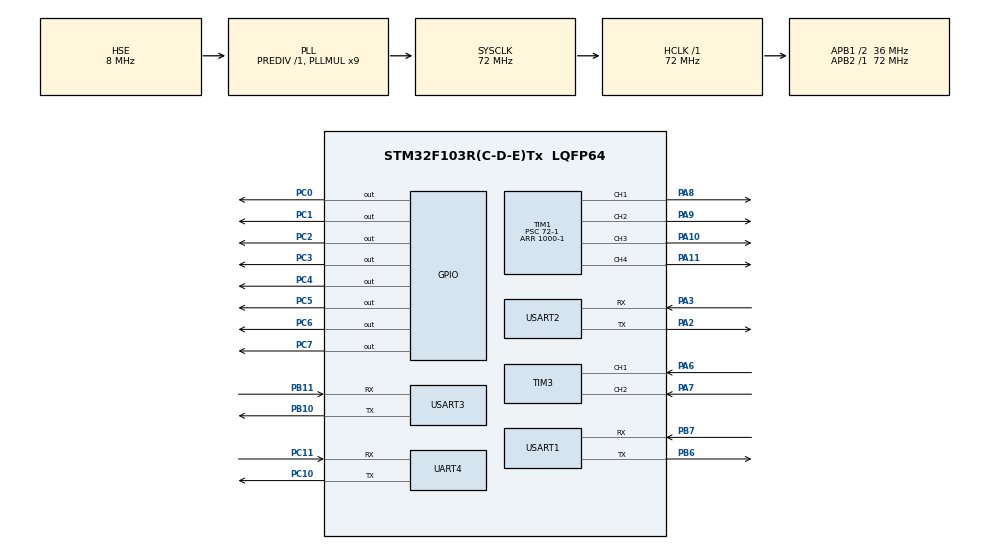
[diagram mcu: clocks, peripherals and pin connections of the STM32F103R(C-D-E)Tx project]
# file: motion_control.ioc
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Dma.Request0=USART2_RX
Dma.Request1=USART3_RX
Dma.Request2=UART4_RX
Dma.UART4_RX.2.Direction=DMA_PERIPH_TO_MEMORY
Dma.UART4_RX.2.Instance=DMA2_Channel3
Dma.UART4_RX.2.MemDataAlignment=DMA_MDATAALIGN_BYTE
Dma.UART4_RX.2.MemInc=DMA_MINC_ENABLE
Dma.UART4_RX.2.Mode=DMA_NORMAL
Dma.UART4_RX.2.PeriphDataAlignment=DMA_PDATAALIGN_BYTE
Dma.UART4_RX.2.PeriphInc=DMA_PINC_DISABLE
Dma.UART4_RX.2.Priority=DMA_PRIORITY_LOW
Dma.USART2_RX.0.Direction=DMA_PERIPH_TO_MEMORY
Dma.USART2_RX.0.Instance=DMA1_Channel6
Dma.USART2_RX.0.MemDataAlignment=DMA_MDATAALIGN_BYTE
Dma.USART2_RX.0.MemInc=DMA_MINC_ENABLE
Dma.USART2_RX.0.Mode=DMA_CIRCULAR
Dma.USART2_RX.0.PeriphDataAlignment=DMA_PDATAALIGN_BYTE
Dma.USART2_RX.0.PeriphInc=DMA_PINC_DISABLE
Dma.USART2_RX.0.Priority=DMA_PRIORITY_LOW
Dma.USART3_RX.1.Direction=DMA_PERIPH_TO_MEMORY
Dma.USART3_RX.1.Instance=DMA1_Channel3
Dma.USART3_RX.1.MemDataAlignment=DMA_MDATAALIGN_BYTE
Dma.USART3_RX.1.MemInc=DMA_MINC_ENABLE
Dma.USART3_RX.1.Mode=DMA_CIRCULAR
Dma.USART3_RX.1.PeriphDataAlignment=DMA_PDATAALIGN_BYTE
Dma.USART3_RX.1.PeriphInc=DMA_PINC_DISABLE
Dma.USART3_RX.1.Priority=DMA_PRIORITY_LOW
Mcu.Family=STM32F1
Mcu.Name=STM32F103R(C-D-E)Tx
Mcu.Package=LQFP64
NVIC.DMA1_Channel3_IRQn=true\:0\:0\:false\:false\:true\:false\:true\:true
NVIC.DMA1_Channel6_IRQn=true\:0\:0\:false\:false\:true\:false\:true\:true
NVIC.DMA2_Channel3_IRQn=true\:0\:0\:false\:false\:true\:false\:true\:true
NVIC.PriorityGroup=NVIC_PRIORITYGROUP_4
NVIC.TIM2_IRQn=true\:0\:0\:false\:false\:true\:true\:true\:true
NVIC.UART4_IRQn=true\:0\:0\:false\:false\:true\:true\:true\:true
NVIC.USART2_IRQn=true\:0\:0\:false\:false\:true\:true\:true\:true
NVIC.USART3_IRQn=true\:0\:0\:false\:false\:true\:true\:true\:true
PA10.Signal=S_TIM1_CH3
PA11.Signal=S_TIM1_CH4
PA13.Mode=Serial_Wire
PA13.Signal=SYS_JTMS-SWDIO
PA14.Mode=Serial_Wire
PA14.Signal=SYS_JTCK-SWCLK
PA2.Mode=Asynchronous
PA2.Signal=USART2_TX
PA3.Mode=Asynchronous
PA3.Signal=USART2_RX
PA6.Signal=S_TIM3_CH1
PA7.Signal=S_TIM3_CH2
PA8.Signal=S_TIM1_CH1
PA9.Signal=S_TIM1_CH2
PB10.Mode=Asynchronous
PB10.Signal=USART3_TX
PB11.Mode=Asynchronous
PB11.Signal=USART3_RX
PB6.Mode=Asynchronous
PB6.Signal=USART1_TX
PB7.Mode=Asynchronous
PB7.Signal=USART1_RX
PC0.Signal=GPIO_Output
PC1.Signal=GPIO_Output
PC10.Mode=Asynchronous
PC10.Signal=UART4_TX
PC11.Mode=Asynchronous
PC11.Signal=UART4_RX
PC2.Signal=GPIO_Output
PC3.Signal=GPIO_Output
PC4.Signal=GPIO_Output
PC5.Signal=GPIO_Output
PC6.Signal=GPIO_Output
PC7.Signal=GPIO_Output
PD0-OSC_IN.Mode=HSE-External-Oscillator
PD0-OSC_IN.Signal=RCC_OSC_IN
PD1-OSC_OUT.Mode=HSE-External-Oscillator
PD1-OSC_OUT.Signal=RCC_OSC_OUT
ProjectManager.HeapSize=0x200
ProjectManager.StackSize=0x400
ProjectManager.TargetToolchain=STM32CubeIDE
RCC.AHBFreq_Value=72000000
RCC.APB1CLKDivider=RCC_HCLK_DIV2
RCC.APB1Freq_Value=36000000
RCC.APB1TimFreq_Value=72000000
RCC.APB2Freq_Value=72000000
RCC.APB2TimFreq_Value=72000000
RCC.HCLKFreq_Value=72000000
RCC.PLLMUL=RCC_PLL_MUL9
RCC.PLLSourceVirtual=RCC_PLLSOURCE_HSE
RCC.SYSCLKFreq_VALUE=72000000
RCC.SYSCLKSource=RCC_SYSCLKSOURCE_PLLCLK
RCC.USBFreq_Value=72000000
SH.S_TIM1_CH1.0=TIM1_CH1,PWM Generation1 CH1
SH.S_TIM1_CH2.0=TIM1_CH2,PWM Generation2 CH2
SH.S_TIM1_CH3.0=TIM1_CH3,PWM Generation3 CH3
SH.S_TIM1_CH4.0=TIM1_CH4,PWM Generation4 CH4
SH.S_TIM3_CH1.0=TIM3_CH1,Encoder_Interface
SH.S_TIM3_CH2.0=TIM3_CH2,Encoder_Interface
TIM1.Channel-PWM\ Generation1\ CH1=TIM_CHANNEL_1
TIM1.Channel-PWM\ Generation2\ CH2=TIM_CHANNEL_2
TIM1.Channel-PWM\ Generation3\ CH3=TIM_CHANNEL_3
TIM1.Channel-PWM\ Generation4\ CH4=TIM_CHANNEL_4
TIM1.Period=1000-1
TIM1.Prescaler=72-1
TIM2.Period=10000-1
TIM2.Prescaler=72-1
TIM3.EncoderMode=TIM_ENCODERMODE_TI12
UART4.VirtualMode=Asynchronous
USART1.VirtualMode=VM_ASYNC
USART2.VirtualMode=VM_ASYNC
USART3.VirtualMode=VM_ASYNC
VP_TIM1_VS_ClockSourceINT.Mode=Internal
VP_TIM2_VS_ClockSourceINT.Mode=Internal
board=custom

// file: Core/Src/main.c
/* USER CODE BEGIN Header */
/**
  ******************************************************************************
  * @file           : main.c
  * @brief          : Main program body
  ******************************************************************************
  * @attention
  *
  * Copyright (c) 2023 STMicroelectronics.
  * All rights reserved.
  *
  * This software is licensed under terms that can be found in the LICENSE file
  * in the root directory of this software component.
  * If no LICENSE file comes with this software, it is provided AS-IS.
  *
  ******************************************************************************
  */
/* USER CODE END Header */
#include "main.h"
#include "dma.h"
#include "tim.h"
#include "usart.h"
#include "gpio.h"

/* USER CODE BEGIN Includes */
#include "motion.h"
#include "jy62.h"
#include "zigbee_edc25.h"
#include "game.h"
#include "math.h"
#include "logic.h"
/* USER CODE END Includes */

/* USER CODE BEGIN PV */

uint8_t u4_RX_Buf[76];
uint8_t last_Buf[66];
int readyed=0;

uint8_t hp = 0;
uint8_t Aglity = 0;
uint8_t count = 0;
int32_t time = 0;

/* USER CODE END PV */

void SystemClock_Config(void);

/* USER CODE BEGIN 0 */

float pid(pidstr *a,float dr)//用于更新PWM的占空比
{
  a->sum = a->sum + dr;
  float pwm = a->Kp * dr + a->Ki * a->sum + a->Kd * (dr - a->lr);
  a->lr = dr;
  if(pwm >= PID_MAX){
    return PID_MAX;
  }
  else if(pwm <= PID_MIN)
  {
    return PID_MIN;
  }
  else
  {
    return pwm;
  }
}

//这个刚刚加过了，只是告诉读�?�应该放�??????
void HAL_TIM_PeriodElapsedCallback(TIM_HandleTypeDef *htim){
	if(htim->Instance==TIM2)
	  {
	    int cnt=__HAL_TIM_GetCounter(&htim3);
	    if (cnt>500){
	    	cnt=(65535-cnt);
	    }
	    __HAL_TIM_SetCounter(&htim3, 0);
	    float vnow=(cnt/15.59)*20.7;//v单位：cm/s
	    float dr=vset-vnow;
	    float Ori_pwm=pid(&pidparm,dr);
	    float yaw = GetYaw();
	    u1_printf("ROW: %f, PITCH:%f, YAW:%f\r\n", 5.0, 5.0, yaw);

	    //u1_printf("%f,%f,%f\n",vnow,vset,pwm);
	    //int temp=pwm;
	    int pwm[4];
	    int dphi=yaw>180?360-yaw:yaw;
	    float Ori_pidphi =pid(&pidparm1,dphi);
	    int pwmphi=Ori_pidphi;
	    if(dir==4&&vset>10){//平移的校准
	    	if(yaw>0&&yaw<180){
	    		pwm[0]=Ori_pwm-pwmphi<0?0:Ori_pwm-pwmphi;
	    		pwm[1]=Ori_pwm+pwmphi>1000?1000:Ori_pwm+pwmphi;
	    		pwm[2]=Ori_pwm+pwmphi>1000?1000:Ori_pwm+pwmphi;
	    		pwm[3]=Ori_pwm-pwmphi<0?0:Ori_pwm-pwmphi;
	    	}
	    	else if(yaw<360&&yaw>180){
	    		pwm[0]=Ori_pwm+pwmphi>1000?1000:Ori_pwm+pwmphi;
	    		pwm[1]=Ori_pwm-pwmphi<0?0:Ori_pwm-pwmphi;
	    		pwm[2]=Ori_pwm-pwmphi<0?0:Ori_pwm-pwmphi;
	    		pwm[3]=Ori_pwm+pwmphi>1000?1000:Ori_pwm+pwmphi;
	    	}
	    }
	    else if(dir==5&&vset>10){
	    	if(yaw<360&&yaw>180){
	    		pwm[0]=Ori_pwm-pwmphi<0?0:Ori_pwm-pwmphi;
	    		pwm[1]=Ori_pwm+pwmphi>1000?1000:Ori_pwm+pwmphi;
	    		pwm[2]=Ori_pwm+pwmphi>1000?1000:Ori_pwm+pwmphi;
	    		pwm[3]=Ori_pwm-pwmphi<0?0:Ori_pwm-pwmphi;
	    	}
	    	else if(yaw>0&&yaw<180){
	    		pwm[0]=Ori_pwm+pwmphi>1000?1000:Ori_pwm+pwmphi;
	    		pwm[1]=Ori_pwm-pwmphi<0?0:Ori_pwm-pwmphi;
	    		pwm[2]=Ori_pwm-pwmphi<0?0:Ori_pwm-pwmphi;
	    		pwm[3]=Ori_pwm+pwmphi>1000?1000:Ori_pwm+pwmphi;
	    	}
	    }
	    else if(dir==1&&vset>10){
	    	if(yaw<360&&yaw>180){
	    		pwm[0]=Ori_pwm+pwmphi>1000?1000:Ori_pwm+pwmphi;
	    		pwm[2]=Ori_pwm-pwmphi<0?0:Ori_pwm-pwmphi;
	    		pwm[1]=Ori_pwm+pwmphi>1000?1000:Ori_pwm+pwmphi;
	    		pwm[3]=Ori_pwm-pwmphi<0?0:Ori_pwm-pwmphi;
	    	}
	    	else if(yaw>0&&yaw<180){
	    		pwm[0]=Ori_pwm-pwmphi<0?0:Ori_pwm-pwmphi;
	    		pwm[2]=Ori_pwm+pwmphi>1000?1000:Ori_pwm+pwmphi;
	    		pwm[1]=Ori_pwm-pwmphi<0?0:Ori_pwm-pwmphi;
	    		pwm[3]=Ori_pwm+pwmphi>1000?1000:Ori_pwm+pwmphi;
	    	}
	    }
	    else if(dir==0&&vset>10){
	    	if(yaw>0&&yaw<180){
	    		pwm[0]=Ori_pwm+pwmphi>1000?1000:Ori_pwm+pwmphi;
	    		pwm[2]=Ori_pwm-pwmphi<0?0:Ori_pwm-pwmphi;
	    		pwm[1]=Ori_pwm+pwmphi>1000?1000:Ori_pwm+pwmphi;
	    		pwm[3]=Ori_pwm-pwmphi<0?0:Ori_pwm-pwmphi;
	    	}
	    	else if(yaw<360&&yaw>180){
	    		pwm[0]=Ori_pwm-pwmphi<0?0:Ori_pwm-pwmphi;
	    		pwm[2]=Ori_pwm+pwmphi>1000?1000:Ori_pwm+pwmphi;
	    		pwm[1]=Ori_pwm-pwmphi<0?0:Ori_pwm-pwmphi;
	    		pwm[3]=Ori_pwm+pwmphi>1000?1000:Ori_pwm+pwmphi;
	    	}
	    }
	    else if(vset==0){
	    	for(int i=0;i<4;i++){//不偏航等情况
	    		pwm[i]=0;
	    	}
	    }
	    else{
	    	for(int i=0;i<4;i++){//不偏航等情况
	    		pwm[i]=Ori_pwm;
	    	}
	    }

	    //u1_printf("%f\n",pwm);
	    __HAL_TIM_SetCompare(&htim1,TIM_CHANNEL_1, pwm[0]);
	    __HAL_TIM_SetCompare(&htim1,TIM_CHANNEL_2, pwm[1]);
	    __HAL_TIM_SetCompare(&htim1,TIM_CHANNEL_3, pwm[2]);
	    __HAL_TIM_SetCompare(&htim1,TIM_CHANNEL_4, pwm[3]);

	    getPosition(&my_pos);

	   }

}
void jy62_Init(UART_HandleTypeDef* huart);
/* USER CODE END 0 */

int main(void)
{

  /* MCU Configuration--------------------------------------------------------*/

  /* Reset of all peripherals, Initializes the Flash interface and the Systick. */
  HAL_Init();

  /* Configure the system clock */
  SystemClock_Config();

  /* Initialize all configured peripherals */
  MX_GPIO_Init();
  MX_DMA_Init();
  MX_TIM1_Init();
  MX_TIM2_Init();
  MX_TIM3_Init();
  MX_USART1_UART_Init();
  MX_USART2_UART_Init();
  MX_USART3_UART_Init();
  MX_UART4_Init();
  /* USER CODE BEGIN 2 */
  HAL_TIM_Base_Start_IT(&htim2); // 使能定时�??????2
  HAL_TIM_PWM_Start(&htim1, TIM_CHANNEL_1);// 使能定定时器1的�?�道1，设定为PWM输出
  HAL_TIM_PWM_Start(&htim1, TIM_CHANNEL_2);
  HAL_TIM_PWM_Start(&htim1, TIM_CHANNEL_3);
  HAL_TIM_PWM_Start(&htim1, TIM_CHANNEL_4);
  HAL_TIM_Encoder_Start(&htim3, TIM_CHANNEL_ALL); //使能编码器时�??????3

  int flag=1;
  int flag1=1;

  HAL_GPIO_WritePin(GPIOC,GPIO_PIN_0,GPIO_PIN_SET);//设置四个电机的转�??????
  HAL_GPIO_WritePin(GPIOC,GPIO_PIN_1,GPIO_PIN_RESET);
  HAL_GPIO_WritePin(GPIOC,GPIO_PIN_2,GPIO_PIN_SET);
  HAL_GPIO_WritePin(GPIOC,GPIO_PIN_3,GPIO_PIN_RESET);
  HAL_GPIO_WritePin(GPIOC,GPIO_PIN_4,GPIO_PIN_SET);
  HAL_GPIO_WritePin(GPIOC,GPIO_PIN_5,GPIO_PIN_RESET);
  HAL_GPIO_WritePin(GPIOC,GPIO_PIN_6,GPIO_PIN_SET);
  HAL_GPIO_WritePin(GPIOC,GPIO_PIN_7,GPIO_PIN_RESET);
  /* USER CODE END 2 */

  /* Infinite loop */
  /* USER CODE BEGIN WHILE */
  SetBaud(115200);
  SetVertical();
  InitAngle();
  Calibrate();
  SleepOrAwake();
  jy62_Init(&huart2);
  zigbee_Init(&huart3);

  while (1)
  {
    /* USER CODE END WHILE */

    /* USER CODE BEGIN 3 */
	  //gameRun();

	  if(GetPitch()!=0&&flag){
		  move_time(0,100,30);
		  flag=0;
		  InitAngle();
	  }//调试陀螺仪是否工作

	  //u1_printf("%d\n",base); //测试通过，确定base是0还是1没有问题
//	  Position_edc25 curr;
//	  getPosition(&curr);

//	  u1_printf("(%f,%f)\n",curr.posx,curr.posy);

	  if(getGameStage()==1 && getGameTime() < 20*60*9){
		  //setv(30);
		  InitBase();
		  if(flag1){
			  Position_edc25 tmp;
			  if(Base.posx==0.5){
				  tmp.posx = 0.5;
				  tmp.posy = 1.5;
			  }else {
				  tmp.posx = 7.5;
				  tmp.posy = 6.5;
			  }
			  move_target(&my_pos, &tmp,20);
			  HAL_Delay(8500);
			  move_target(&my_pos, &Base,20);
			  HAL_Delay(8500);
			  flag1 = 0;
		  }

		  make_choice();

		  for(int i=0;i<pathlen;i++){
			  int id = getMapId_new(path+i);
			  if(!getHeightOfId(id))
				  place_block_id(id);
			  HAL_Delay(300);//这两句测试放羊
			  move_target(&my_pos,path+i,15);
			  u1_printf("maMap[%d]: %d", id, myMap_new[id]);
			  //u1_printf("over!(%f,%f)\n",my_pos.posx,my_pos.posy);
			  HAL_Delay(300);
			  check_yaw(3);
		  }

		  Trade();

	  }

//		  u1_printf("gamestart");
//		  InitBase();
//		  InitAngle();
//		  path[0].posx=7.5;
//		  path[0].posy=6.5;
//		  path[1].posx=6.5;
//		  path[1].posy=6.5;
//		  path[2].posx=6.5;
//		  path[2].posy=7.5;
//		  if(flag1){
//			  for(int i=0;i<3;i++){
//				  place_block_id(getMapId_new(path+i));
//				  HAL_Delay(300);//这两句测试放羊毛
//				  move_target(&my_pos,path+i,20);
//				  u1_printf("over!(%f,%f)\n",my_pos.posx,my_pos.posy);
//				  HAL_Delay(300);
//				  check_yaw(5);
//			  }
////		  move_target(&my_pos,&target,20);
////		  u1_printf("over!(%f,%f)\n",my_pos.posx,my_pos.posy);
//		  flag1=0;
//		  }//测试沿着给定的路边放羊毛边走

//		  int base = InitBase();
//		  Position_edc25 from={7.5,7.5};
//		  Position_edc25 to={6.5,7.5};
//		  mymove_new(&from,&to);
		  //break;
	  //调试和上位机连接后的正方形走线

//	  while(!readyed){
//		  while (HAL_UART_Receive(&huart4, u4_RX_Buf, sizeof(u4_RX_Buf), 100) != HAL_OK);
//		  u1_printf("received:"); // 转发到串�?1
//		  HAL_UART_Transmit(&huart1, u4_RX_Buf, sizeof(u4_RX_Buf), HAL_MAX_DELAY);
//		  if(u4_RX_Buf[0]=='x'){
//			  readyed=1;
//			  u1_printf("\n find\n");
//		  }
//		  int slow = 0;
//		  for(int i = 0; i < 76; i++) {
//			  char c = u4_RX_Buf[i];
//			  if(c=='y')
//				  break;
//			  if(c-'0'>=0&&c - '0' < 10) {
//				  u4_RX_Buf[slow] = c;
//				  slow++;
//			  }
//		  }
//		  for(int i = 0; i < 64; i++)
//			  u1_printf("%c", u4_RX_Buf[i]);
//	  }//从k210读取地图
//	  initMap(u4_RX_Buf);

//	  u1_printf("one_line\n");
//	  hp = getHealth();
//	  u1_printf("1\n");
//	  time = getGameTime();
//	  u1_printf("2\n");
//	  Aglity = getAglity();
//	  count = getWoolCount();
//	  getPosition(&my_pos);
//	  if(time!=0)
//	  {
//	  u1_printf("health: %d aglity: %d woolcount: %d\r\n",hp,Aglity,count);
//	  u1_printf("(%f,%f)\r\n",my_pos.posx,my_pos.posy);
//	  //place_block_id(63);
//	  place_block_id(0);
//	  }
//	  HAL_Delay(500);
	  //测试上位机

//	  InitAngle();
//	  if(flag&&GetPitch()!=0){
//
//		  move_time(4,2000,20);
//		  check_yaw(5);
//		  HAL_Delay(500);
//		  move_time(0,500,30);
//		  check_yaw(5);
//		  HAL_Delay(500);
//		  move_time(5,2000,20);
//		  check_yaw(5);
//		  HAL_Delay(500);
//		  move_time(1,500,30);
//		  check_yaw(5);
//		  HAL_Delay(500);
//
//
//		  flag=0;
//	  }//运动测试

//	  if(flag){
//		  InitAngle();
//		  flag=0;
//	  }//jy62调试

  }
  /* USER CODE END 3 */
}

void SystemClock_Config(void)
{
  RCC_OscInitTypeDef RCC_OscInitStruct = {0};
  RCC_ClkInitTypeDef RCC_ClkInitStruct = {0};

  /** Initializes the RCC Oscillators according to the specified parameters
  * in the RCC_OscInitTypeDef structure.
  */
  RCC_OscInitStruct.OscillatorType = RCC_OSCILLATORTYPE_HSE;
  RCC_OscInitStruct.HSEState = RCC_HSE_ON;
  RCC_OscInitStruct.HSEPredivValue = RCC_HSE_PREDIV_DIV1;
  RCC_OscInitStruct.HSIState = RCC_HSI_ON;
  RCC_OscInitStruct.PLL.PLLState = RCC_PLL_ON;
  RCC_OscInitStruct.PLL.PLLSource = RCC_PLLSOURCE_HSE;
  RCC_OscInitStruct.PLL.PLLMUL = RCC_PLL_MUL9;
  if (HAL_RCC_OscConfig(&RCC_OscInitStruct) != HAL_OK)
  {
    Error_Handler();
  }

  /** Initializes the CPU, AHB and APB buses clocks
  */
  RCC_ClkInitStruct.ClockType = RCC_CLOCKTYPE_HCLK|RCC_CLOCKTYPE_SYSCLK
                              |RCC_CLOCKTYPE_PCLK1|RCC_CLOCKTYPE_PCLK2;
  RCC_ClkInitStruct.SYSCLKSource = RCC_SYSCLKSOURCE_PLLCLK;
  RCC_ClkInitStruct.AHBCLKDivider = RCC_SYSCLK_DIV1;
  RCC_ClkInitStruct.APB1CLKDivider = RCC_HCLK_DIV2;
  RCC_ClkInitStruct.APB2CLKDivider = RCC_HCLK_DIV1;

  if (HAL_RCC_ClockConfig(&RCC_ClkInitStruct, FLASH_LATENCY_2) != HAL_OK)
  {
    Error_Handler();
  }
}

void Error_Handler(void)
{
  __disable_irq();
  while (1)
  {
  }
}
